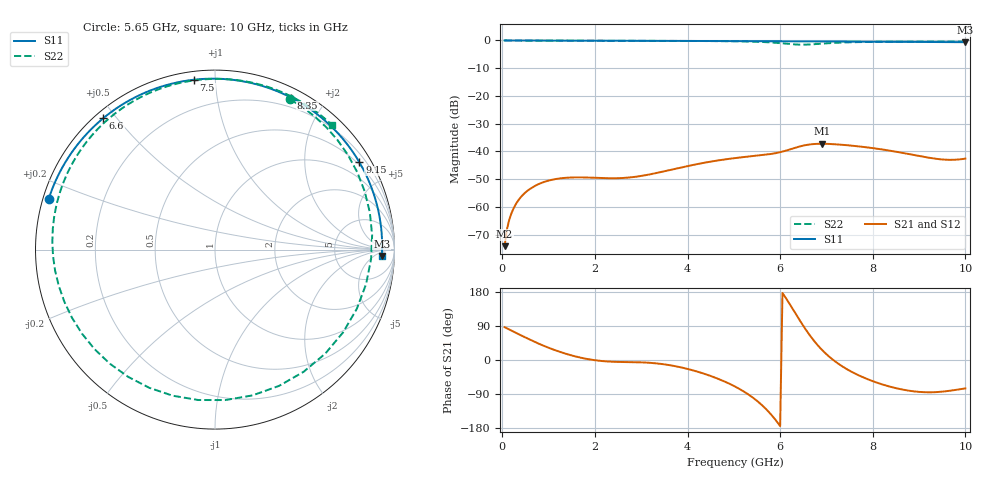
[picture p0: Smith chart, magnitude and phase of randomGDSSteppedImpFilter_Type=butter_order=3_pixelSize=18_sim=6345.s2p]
! freq	dB(S11)	phase(S11)	dB(S12)	phase(S12)
!  dB(S21)	phase(S21)	dB(S22)	phase(S22)
!S-par simulation data
#  GHz  S  DB  R 50
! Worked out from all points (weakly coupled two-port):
!   200 points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, 50 MHz to 10 GHz, reference 50 ohm
!   highest |S21| = -37.24 dB at 6.9 GHz (marker M1); lowest = -74.2 dB at 50 MHz (marker M2)
!   lowest |S11| = -0.6 dB at 10 GHz (marker M3), VSWR 27.69, Z = 1.08e+03 - j570 ohm
!   |S11| at or under -10 dB: nowhere
!   |S22| runs from -1.5 to 0.0 dB; largest |S21 - S12| = 0
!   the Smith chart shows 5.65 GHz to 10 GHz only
!   S11 on the Smith chart (normalised r, x): 5.65 GHz: 0.02, +0.15; 6.6 GHz: 0.02, +0.46; 7.5 GHz: 0.04, +0.88; 8.35 GHz: 0.10, +1.61; 9.15 GHz: 0.42, +3.54; 10 GHz: 22, -11
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0.05  -0.00 -2.0  -74.16 86.7  -74.16 86.7  -0.00 -4.4
0.1  -0.01 -4.0  -68.14 83.6  -68.14 83.6  -0.01 -8.8
0.2  -0.01 -8.0  -62.19 77.4  -62.19 77.4  -0.03 -17.5
0.5  -0.03 -20.0  -54.78 59.4  -54.78 59.4  -0.06 -42.5
1.05  -0.05 -41.4  -50.30 30.0  -50.30 30.0  -0.09 -83.0
1.75  -0.08 -67.7  -49.38 4.6  -49.38 4.6  -0.11 -122.9
2.5  -0.11 -94.3  -49.65 -5.1  -49.65 -5.1  -0.12 -155.6
3.4  -0.15 -124.5  -47.52 -9.9  -47.52 -9.9  -0.15 171.6
4.3  -0.19 -153.4  -44.28 -33.9  -44.28 -33.9  -0.20 139.2
5.05  -0.24 -177.3  -42.35 -71.6  -42.35 -71.6  -0.31 105.6
5.65  -0.28 163.1  -41.27 -124.0  -41.27 -124.0  -0.57 63.3
5.9  -0.29 154.7  -40.64 -158.0  -40.64 -158.0  -0.83 35.4
6.15  -0.31 146.2  -39.60 158.5  -39.60 158.5  -1.20 -3.5
6.4  -0.33 137.5  -38.32 109.3  -38.32 109.3  -1.50 -54.1
6.6  -0.35 130.5  -37.58 72.0  -37.58 72.0  -1.48 -96.3
6.7  -0.35 126.9  -37.38 55.4  -37.38 55.4  -1.39 -115.5
6.9  -0.37 119.6  -37.24 27.1  -37.24 27.1  -1.14 -147.8
7.15  -0.39 110.3  -37.38 -0.3  -37.38 -0.3  -0.89 -177.8
7.5  -0.41 97.1  -37.85 -28.3  -37.85 -28.3  -0.67 152.8
8.35  -0.47 63.5  -39.68 -69.6  -39.68 -69.6  -0.47 107.5
9.15  -0.54 31.1  -42.10 -85.1  -42.10 -85.1  -0.42 76.3
10  -0.63 -2.2  -42.60 -75.0  -42.60 -75.0  -0.43 46.9
